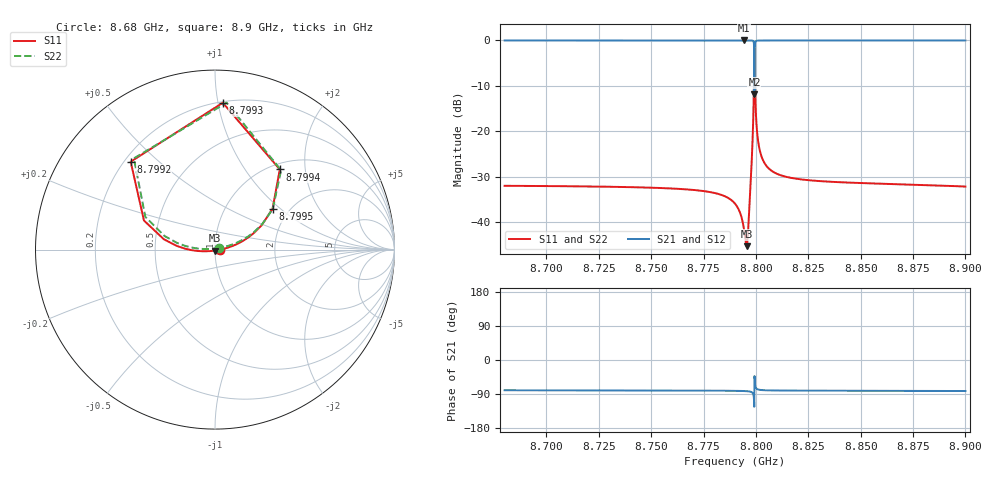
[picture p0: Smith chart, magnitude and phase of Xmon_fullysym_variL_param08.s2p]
! Sonnet Data File
! From: emgraph Version : 16.52
! From Project: 171117_Xmon_fullysym
! Data is De-embedded
! Data File Written: 11/26/2017 17:14:23
!< HDATE 11/22/2017 16:48:52
!< MDATE 11/23/2017 10:16:42
!< PARAMS
!< Lj = 11.0
!< Gap = 1.0
!< Pwid = 2000.0
!< Airgap = 6.0
!< Width = 10.0
!< Lj1 = 10.35
!< END PARAMS
# GHZ S MA R 50.90000
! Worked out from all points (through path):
!   2201 points, 8.68 GHz to 8.9 GHz, reference 50.9 ohm
!   highest |S21| = 0.00 dB at 8.7941 GHz (marker M1); lowest = -11.9 dB at 8.7993 GHz (marker M2)
!   lowest |S11| = -45.3 dB at 8.7956 GHz (marker M3), VSWR 1.01, Z = 50.9 - j0.552 ohm
!   |S11| at or under -10 dB: start of sweep to 8.799 GHz; 8.7996 GHz to end of sweep
!   |S22| runs from -44.9 to -1.7 dB; largest |S21 - S12| = 3.2e-10
!   S11 on the Smith chart (normalised r, x): 8.68 GHz: 1.05, -0.00; 8.7992 GHz: 0.22, +0.41; 8.7993 GHz: 0.21, +1.03; 8.7994 GHz: 1.10, +1.47; 8.7995 GHz: 1.65, +0.89; 8.9 GHz: 1.05, -0.00
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8.68  0.02513 -1.5  0.9997 -79.8  0.9997 -79.8  0.02513 21.9
!< P1 F=8.68 Eeff=(6.44843488 -2.9797e-5) Z0=(50.9086135 1.17022e-4) R=0.0 C=0.0
!< P2 F=8.68 Eeff=(6.44843488 -2.9797e-5) Z0=(50.9086135 1.17022e-4) R=0.0 C=0.0
8.7167  0.02476 -2.1  0.9997 -80.1  0.9997 -80.1  0.02476 21.8
8.7534  0.0238 -3.1  0.9997 -80.5  0.9997 -80.5  0.0238 22.1
8.7794  0.02114 -5.3  0.9998 -80.9  0.9998 -80.9  0.02114 23.5
8.79  0.01597 -10.8  0.9998 -81.3  0.9998 -81.3  0.01599 28.2
8.7941  0.008894 -29.1  0.9999 -81.8  0.9999 -81.8  0.008977 46.1
8.7956  0.005438 -85.3  0.9999 -82.3  0.9999 -82.3  0.005697 100.5
8.7968  0.01371 -149.6  0.9996 -83.0  0.9996 -83.0  0.01394 161.4
8.7977  0.03446 -165.3  0.9987 -84.2  0.9987 -84.2  0.03468 174.6
8.7985  0.09436 -175.2  0.9927 -87.7  0.9927 -87.7  0.09469 176.4
8.7992  0.6786 133.8  0.5905 -123.6  0.5905 -123.6  0.6801 131.6
8.7993  0.8193 87.0  0.2552 -42.5  0.2552 -42.5  0.8211 85.5
8.7994  0.5743 51.1  0.7398 -47.6  0.7398 -47.6  0.5755 50.2
8.7995  0.3932 35.4  0.8892 -59.2  0.8892 -59.2  0.394 35.2
8.8  0.1518 16.4  0.9852 -73.6  0.9852 -73.6  0.152 18.9
8.8004  0.1074 12.5  0.9929 -76.1  0.9929 -76.1  0.1076 16.7
8.8009  0.08232 9.8  0.996 -77.6  0.996 -77.6  0.0824 15.9
8.8017  0.06358 7.4  0.9977 -78.7  0.9977 -78.7  0.06363 15.8
8.805  0.0416 3.2  0.9991 -80.0  0.9991 -80.0  0.04162 17.0
8.8267  0.02873 -1.3  0.9996 -80.9  0.9996 -80.9  0.02873 19.5
8.8634  0.02634 -2.9  0.9996 -81.4  0.9996 -81.4  0.02634 20.0
8.9  0.02463 -4.2  0.9997 -81.8  0.9997 -81.8  0.02463 20.5
